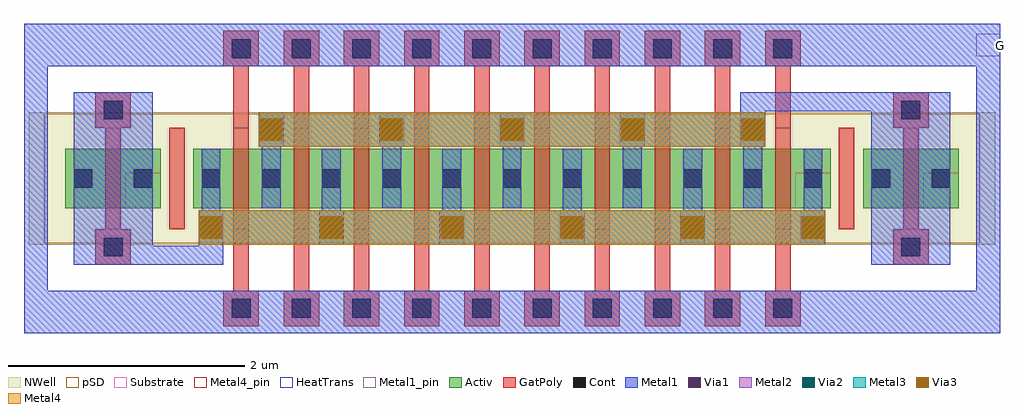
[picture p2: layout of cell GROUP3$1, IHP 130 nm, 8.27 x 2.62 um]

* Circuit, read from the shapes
.subckt GROUP3$1 G
XM1 pmos$1_priv1$1_0/D pmos$1_priv1$1_0/D pmos$1_priv1$1_0/D n1 sg13_lv_pmos w=0.5u l=0.13u
XM2 pmos$1_priv1$1_0/S G pmos$1_priv1$1_0/D n1 sg13_lv_pmos w=0.5u l=0.13u m=10
XM3 pmos$1_priv1$1_0/S pmos$1_priv1$1_0/S pmos$1_priv1$1_0/S n1 sg13_lv_pmos w=0.5u l=0.13u
.ends

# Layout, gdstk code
import gdstk
lib = gdstk.Library(unit=1e-6, precision=1e-09)
def R(c, l, rs):  # rectangles x0, y0, x1, y1
    for r in rs: c.add(gdstk.rectangle(r[:2], r[2:], *l))
def A(c, l, x, y, w, h, nx, ny, dx, dy):  # array of equal rectangles
    R(c, l, [(x+i*dx, y+j*dy, x+i*dx+w, y+j*dy+h) for i in range(nx) for j in range(ny)])
Activ = (1, 0)
GatPoly = (5, 0)
Cont = (6, 0)
Metal1 = (8, 0)
Metal1_pin = (8, 2)
Metal2 = (10, 0)
pSD = (14, 0)
Via1 = (19, 0)
Via2 = (29, 0)
Metal3 = (30, 0)
NWell = (31, 0)
Substrate = (40, 0)
Via3 = (49, 0)
Metal4 = (50, 0)
Metal4_pin = (50, 2)
HeatTrans = (51, 0)

pmos_1_priv1_1 = lib.new_cell('pmos$1_priv1$1')
A(pmos_1_priv1_1, Activ, 0, 0, 0.3, 0.3, 11, 1, 0.51, 0)
R(pmos_1_priv1_1, Activ, [(0,0,5.4,0.5)])
A(pmos_1_priv1_1, GatPoly, 0.255, -1, 0.3, 0.3, 10, 2, 0.51, 2.2)
A(pmos_1_priv1_1, GatPoly, 0.34, -0.7, 0.13, 0.52, 10, 2, 0.51, 1.38)
A(pmos_1_priv1_1, GatPoly, 0.34, -0.18, 0.13, 0.86, 10, 1, 0.51, 0)
R(pmos_1_priv1_1, GatPoly, [(0.34,-0.18,0.47,0.68)])
A(pmos_1_priv1_1, Cont, 0.325, -0.93, 0.16, 0.16, 10, 2, 0.51, 2.2)
A(pmos_1_priv1_1, Cont, 0.07, 0.17, 0.16, 0.16, 11, 1, 0.51, 0)
A(pmos_1_priv1_1, Metal1, 0.27, -1.06, 0.27, 0.36, 10, 2, 0.51, 2.26)
A(pmos_1_priv1_1, Metal1, 0.045, -0.31, 0.21, 0.29, 6, 1, 1.02, 0)
A(pmos_1_priv1_1, Metal1, 0.07, -0.035, 0.16, 0.05, 6, 1, 1.02, 0)
A(pmos_1_priv1_1, Metal1, 0.58, 0, 0.16, 0.5, 10, 1, 0.51, 0)
A(pmos_1_priv1_1, Metal1, 0.58, 0.485, 0.16, 0.05, 5, 1, 1.02, 0)
A(pmos_1_priv1_1, Metal1, 0.555, 0.52, 0.21, 0.29, 5, 1, 1.02, 0)
R(pmos_1_priv1_1, Metal1, [(0.07,0,0.23,0.5), (0.07,0,0.23,0.5), (0.58,0,0.74,0.5)])
A(pmos_1_priv1_1, Metal2, 0.05, -0.31, 0.2, 0.29, 6, 1, 1.02, 0)
A(pmos_1_priv1_1, Metal2, 0.56, 0.52, 0.2, 0.29, 5, 1, 1.02, 0)
R(pmos_1_priv1_1, Metal2, [(0.05,-0.31,5.35,-0.02), (0.56,0.52,4.84,0.81)])
R(pmos_1_priv1_1, pSD, [(-0.18,-0.3,5.58,0.8)])
A(pmos_1_priv1_1, Via1, 0.055, -0.26, 0.19, 0.19, 6, 1, 1.02, 0)
A(pmos_1_priv1_1, Via1, 0.565, 0.57, 0.19, 0.19, 5, 1, 1.02, 0)
A(pmos_1_priv1_1, Via2, 0.055, -0.26, 0.19, 0.19, 6, 1, 1.02, 0)
A(pmos_1_priv1_1, Via2, 0.565, 0.57, 0.19, 0.19, 5, 1, 1.02, 0)
A(pmos_1_priv1_1, Metal3, 0.05, -0.31, 0.2, 0.29, 6, 1, 1.02, 0)
A(pmos_1_priv1_1, Metal3, 0.56, 0.52, 0.2, 0.29, 5, 1, 1.02, 0)
R(pmos_1_priv1_1, Metal3, [(0.05,-0.31,5.35,-0.02), (0.56,0.52,4.84,0.81)])
R(pmos_1_priv1_1, NWell, [(-0.31,-0.31,5.71,0.81)])
R(pmos_1_priv1_1, Substrate, [(5.1,0,5.4,0.3)])
A(pmos_1_priv1_1, Via3, 0.055, -0.26, 0.19, 0.19, 6, 1, 1.02, 0)
A(pmos_1_priv1_1, Via3, 0.565, 0.57, 0.19, 0.19, 5, 1, 1.02, 0)
A(pmos_1_priv1_1, Metal4, 0.05, -0.31, 0.2, 0.29, 6, 1, 1.02, 0)
A(pmos_1_priv1_1, Metal4, 0.56, 0.52, 0.2, 0.29, 5, 1, 1.02, 0)
R(pmos_1_priv1_1, Metal4, [(0.05,-0.31,5.35,-0.02), (0.56,0.52,4.84,0.81)])
R(pmos_1_priv1_1, Metal4_pin, [(5.155,-0.26,5.345,-0.07), (4.645,0.57,4.835,0.76)])
A(pmos_1_priv1_1, HeatTrans, 0.34, -0.18, 0.13, 0.86, 10, 1, 0.51, 0)
pmos_1_priv1_1.add(gdstk.Label('pmos', (0.405,0.25), layer=63, texttype=0))
pmos_1_priv1_1.add(gdstk.Label('pmos', (0.405,0.25), layer=51, texttype=0))
pmos_1_priv1_1.add(gdstk.Label('pmos', (0.915,0.25), layer=51, texttype=0))
pmos_1_priv1_1.add(gdstk.Label('pmos', (1.425,0.25), layer=51, texttype=0))
pmos_1_priv1_1.add(gdstk.Label('pmos', (1.935,0.25), layer=51, texttype=0))
pmos_1_priv1_1.add(gdstk.Label('pmos', (2.445,0.25), layer=51, texttype=0))
pmos_1_priv1_1.add(gdstk.Label('pmos', (2.955,0.25), layer=51, texttype=0))
pmos_1_priv1_1.add(gdstk.Label('pmos', (3.465,0.25), layer=51, texttype=0))
pmos_1_priv1_1.add(gdstk.Label('pmos', (3.975,0.25), layer=51, texttype=0))
pmos_1_priv1_1.add(gdstk.Label('pmos', (4.485,0.25), layer=51, texttype=0))
pmos_1_priv1_1.add(gdstk.Label('pmos', (4.995,0.25), layer=51, texttype=0))
pmos_1_priv1_1.add(gdstk.Label('S', (4.74,0.665), layer=50, texttype=0))
pmos_1_priv1_1.add(gdstk.Label('D', (5.25,-0.165), layer=50, texttype=0))

pmos_2_priv1_1 = lib.new_cell('pmos$2_priv1$1')
R(pmos_2_priv1_1, Activ, [(0,0,0.3,0.3), (0,0,0.81,0.5), (0.51,0,0.81,0.3)])
R(pmos_2_priv1_1, GatPoly, [(0.255,-0.48,0.555,-0.18), (0.34,-0.18,0.47,0.68), (0.34,-0.18,0.47,0.68), (0.255,0.68,0.555,0.98)])
R(pmos_2_priv1_1, Cont, [(0.325,-0.41,0.485,-0.25), (0.07,0.17,0.23,0.33), (0.58,0.17,0.74,0.33), (0.325,0.75,0.485,0.91)])
R(pmos_2_priv1_1, Metal1, [(0.07,-0.48,0.74,0.98), (0.07,0,0.23,0.5), (0.07,0,0.23,0.5), (0.58,0,0.74,0.5), (0.58,0,0.74,0.5)])
R(pmos_2_priv1_1, pSD, [(-0.18,-0.3,0.99,0.8)])
R(pmos_2_priv1_1, NWell, [(-0.31,-0.31,1.12,0.81)])
R(pmos_2_priv1_1, Substrate, [(0.51,0,0.81,0.3)])
R(pmos_2_priv1_1, HeatTrans, [(0.34,-0.18,0.47,0.68)])
pmos_2_priv1_1.add(gdstk.Label('pmos', (0.405,0.25), layer=63, texttype=0))
pmos_2_priv1_1.add(gdstk.Label('pmos', (0.405,0.25), layer=51, texttype=0))

pmos_2_priv2_1 = lib.new_cell('pmos$2_priv2$1')
R(pmos_2_priv2_1, Activ, [(0,0,0.3,0.3), (0,0,0.81,0.5), (0.51,0,0.81,0.3)])
R(pmos_2_priv2_1, GatPoly, [(0.255,-0.48,0.555,-0.18), (0.34,-0.18,0.47,0.68), (0.34,-0.18,0.47,0.68), (0.255,0.68,0.555,0.98)])
R(pmos_2_priv2_1, Cont, [(0.325,-0.41,0.485,-0.25), (0.07,0.17,0.23,0.33), (0.58,0.17,0.74,0.33), (0.325,0.75,0.485,0.91)])
R(pmos_2_priv2_1, Metal1, [(0.07,-0.48,0.74,0.98), (0.07,0,0.23,0.5), (0.07,0,0.23,0.5), (0.58,0,0.74,0.5), (0.58,0,0.74,0.5)])
R(pmos_2_priv2_1, pSD, [(-0.18,-0.3,0.99,0.8)])
R(pmos_2_priv2_1, NWell, [(-0.31,-0.31,1.12,0.81)])
R(pmos_2_priv2_1, Substrate, [(0.51,0,0.81,0.3)])
R(pmos_2_priv2_1, HeatTrans, [(0.34,-0.18,0.47,0.68)])
pmos_2_priv2_1.add(gdstk.Label('pmos', (0.405,0.25), layer=63, texttype=0))
pmos_2_priv2_1.add(gdstk.Label('pmos', (0.405,0.25), layer=51, texttype=0))

group3_1 = lib.new_cell('GROUP3$1')
R(group3_1, GatPoly, [(262.485,-60.34,262.615,-59.48), (268.16,-60.34,268.29,-59.48)])
R(group3_1, Metal1, [(261.255,-61.22,269.525,-60.86), (261.255,-61.22,261.455,-58.6), (269.325,-61.22,269.525,-58.6), (262.345,-60.64,262.945,-60.48), (262.735,-60.48,262.945,-60.18), (267.325,-59.64,267.535,-59.34), (267.325,-59.34,268.435,-59.18), (261.255,-58.96,269.525,-58.6)])
R(group3_1, Metal1_pin, [(269.325,-58.875,269.525,-58.685)])
group3_1.add(gdstk.Reference(pmos_1_priv1_1, (262.69,-60.16)))
group3_1.add(gdstk.Reference(pmos_2_priv1_1, (268.365,-60.16)))
group3_1.add(gdstk.Reference(pmos_2_priv2_1, (261.605,-60.16)))
group3_1.add(gdstk.Label('G', (269.525,-58.78), layer=8, texttype=0))

lib.write_gds('GROUP3_1.gds')
